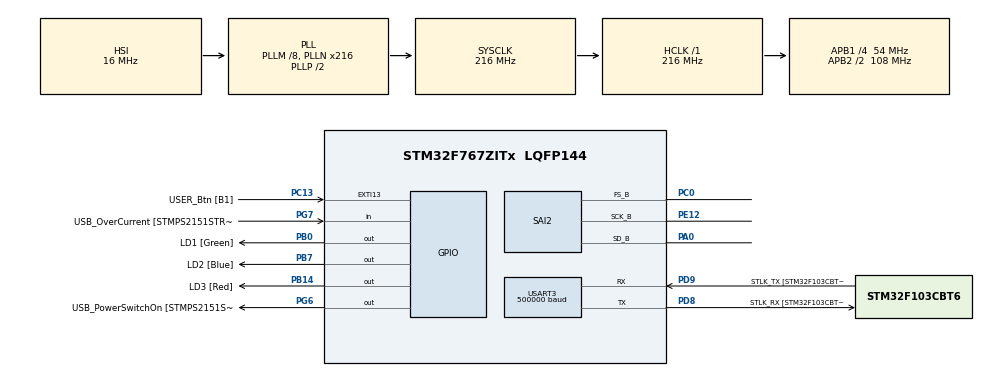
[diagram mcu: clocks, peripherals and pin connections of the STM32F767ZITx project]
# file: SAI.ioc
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Dma.Request0=USART3_TX
Dma.Request1=SAI2_B
Dma.SAI2_B.1.Direction=DMA_PERIPH_TO_MEMORY
Dma.SAI2_B.1.FIFOMode=DMA_FIFOMODE_DISABLE
Dma.SAI2_B.1.Instance=DMA2_Stream1
Dma.SAI2_B.1.MemDataAlignment=DMA_MDATAALIGN_WORD
Dma.SAI2_B.1.MemInc=DMA_MINC_ENABLE
Dma.SAI2_B.1.Mode=DMA_CIRCULAR
Dma.SAI2_B.1.PeriphDataAlignment=DMA_PDATAALIGN_WORD
Dma.SAI2_B.1.PeriphInc=DMA_PINC_DISABLE
Dma.SAI2_B.1.Priority=DMA_PRIORITY_MEDIUM
Dma.USART3_TX.0.Direction=DMA_MEMORY_TO_PERIPH
Dma.USART3_TX.0.FIFOMode=DMA_FIFOMODE_DISABLE
Dma.USART3_TX.0.Instance=DMA1_Stream3
Dma.USART3_TX.0.MemDataAlignment=DMA_MDATAALIGN_BYTE
Dma.USART3_TX.0.MemInc=DMA_MINC_ENABLE
Dma.USART3_TX.0.Mode=DMA_NORMAL
Dma.USART3_TX.0.PeriphDataAlignment=DMA_PDATAALIGN_BYTE
Dma.USART3_TX.0.PeriphInc=DMA_PINC_DISABLE
Dma.USART3_TX.0.Priority=DMA_PRIORITY_LOW
Mcu.Family=STM32F7
Mcu.Name=STM32F767ZITx
Mcu.Package=LQFP144
NVIC.DMA1_Stream3_IRQn=true\:0\:0\:false\:false\:true\:false\:true\:true
NVIC.DMA2_Stream1_IRQn=true\:0\:0\:false\:false\:true\:false\:true\:true
NVIC.PriorityGroup=NVIC_PRIORITYGROUP_4
NVIC.SAI2_IRQn=true\:0\:0\:false\:false\:true\:true\:true\:true
NVIC.USART3_IRQn=true\:0\:0\:false\:false\:true\:true\:true\:true
PA0/WKUP.Mode=SAI_B_Master
PA0/WKUP.Signal=SAI2_SD_B
PA1.GPIO_Label=RMII_REF_CLK [LAN8742A-CZ-TR_REFCLK0]
PA1.Signal=ETH_REF_CLK
PA10.GPIO_Label=USB_ID
PA10.Signal=USB_OTG_FS_ID
PA11.GPIO_Label=USB_DM
PA11.Signal=USB_OTG_FS_DM
PA12.GPIO_Label=USB_DP
PA12.Signal=USB_OTG_FS_DP
PA13.GPIO_Label=TMS
PA13.Signal=SYS_JTMS-SWDIO
PA14.GPIO_Label=TCK
PA14.Signal=SYS_JTCK-SWCLK
PA2.GPIO_Label=RMII_MDIO [LAN8742A-CZ-TR_MDIO]
PA2.Signal=ETH_MDIO
PA7.GPIO_Label=RMII_CRS_DV [LAN8742A-CZ-TR_CRS_DV]
PA7.Signal=ETH_CRS_DV
PA8.GPIO_Label=USB_SOF [TP1]
PA8.Signal=USB_OTG_FS_SOF
PA9.GPIO_Label=USB_VBUS
PA9.Signal=USB_OTG_FS_VBUS
PB0.GPIO_Label=LD1 [Green]
PB0.Signal=GPIO_Output
PB13.GPIO_Label=RMII_TXD1 [LAN8742A-CZ-TR_TXD1]
PB13.Signal=ETH_TXD1
PB14.GPIO_Label=LD3 [Red]
PB14.Signal=GPIO_Output
PB3.GPIO_Label=SW0
PB3.Signal=SYS_JTDO-SWO
PB7.GPIO_Label=LD2 [Blue]
PB7.Signal=GPIO_Output
PC0.Mode=SAI_B_Master
PC0.Signal=SAI2_FS_B
PC1.GPIO_Label=RMII_MDC [LAN8742A-CZ-TR_MDC]
PC1.Signal=ETH_MDC
PC13.GPIO_Label=USER_Btn [B1]
PC13.Signal=GPXTI13
PC14/OSC32_IN.Signal=RCC_OSC32_IN
PC15/OSC32_OUT.Signal=RCC_OSC32_OUT
PC4.GPIO_Label=RMII_RXD0 [LAN8742A-CZ-TR_RXD0]
PC4.Signal=ETH_RXD0
PC5.GPIO_Label=RMII_RXD1 [LAN8742A-CZ-TR_RXD1]
PC5.Signal=ETH_RXD1
PD8.GPIO_Label=STLK_RX [STM32F103CBT6_PA3]
PD8.Mode=Asynchronous
PD8.Signal=USART3_TX
PD9.GPIO_Label=STLK_TX [STM32F103CBT6_PA2]
PD9.Mode=Asynchronous
PD9.Signal=USART3_RX
PE12.Mode=SAI_B_Master
PE12.Signal=SAI2_SCK_B
PG11.GPIO_Label=RMII_TX_EN [LAN8742A-CZ-TR_TXEN]
PG11.Signal=ETH_TX_EN
PG13.GPIO_Label=RMII_TXD0 [LAN8742A-CZ-TR_TXD0]
PG13.Signal=ETH_TXD0
PG6.GPIO_Label=USB_PowerSwitchOn [STMPS2151STR_EN]
PG6.Signal=GPIO_Output
PG7.GPIO_Label=USB_OverCurrent [STMPS2151STR_FAULT]
PG7.Signal=GPIO_Input
PH0/OSC_IN.GPIO_Label=MCO [STM32F103CBT6_PA8]
PH0/OSC_IN.Signal=RCC_OSC_IN
PH1/OSC_OUT.Signal=RCC_OSC_OUT
ProjectManager.HeapSize=0x200
ProjectManager.StackSize=0x400
ProjectManager.TargetToolchain=STM32CubeIDE
RCC.48MHZClocksFreq_Value=24000000
RCC.AHBFreq_Value=216000000
RCC.APB1CLKDivider=RCC_HCLK_DIV4
RCC.APB1Freq_Value=54000000
RCC.APB1TimFreq_Value=108000000
RCC.APB2CLKDivider=RCC_HCLK_DIV2
RCC.APB2Freq_Value=108000000
RCC.APB2TimFreq_Value=216000000
RCC.CortexFreq_Value=216000000
RCC.HCLKFreq_Value=216000000
RCC.HSE_VALUE=16000000
RCC.HSI_VALUE=16000000
RCC.LSE_VALUE=32768
RCC.PLLM=8
RCC.PLLMUL=RCC_PLL_MUL9
RCC.PLLN=216
RCC.PLLSAIN=96
RCC.PLLSAIQ=3
RCC.PRESCALERUSB=RCC_USBCLKSOURCE_PLL_DIV1_5
RCC.SYSCLKFreq_VALUE=216000000
RCC.SYSCLKSource=RCC_SYSCLKSOURCE_PLLCLK
RCC.SYSCLKSourceVirtual=RCC_SYSCLKSOURCE_PLLCLK
RCC.USBFreq_Value=216000000
RCC.VCOOutputFreq_Value=432000000
SAI2.ActiveFrameLength-SAI_B_Master=32
SAI2.AudioFrequency-SAI_B_Master=SAI_AUDIO_FREQUENCY_22K
SAI2.AudioMode-SAI_B_Master=SAI_MODEMASTER_RX
SAI2.DataSize-SAI_B_Master=SAI_DATASIZE_24
SAI2.ErrorAudioFreq-SAI_B_Master=13.37 %
SAI2.FSOffset-SAI_B_Master=SAI_FS_BEFOREFIRSTBIT
SAI2.FirstBitOffset-SAI_B_Master=1
SAI2.FrameLength-SAI_B_Master=64
SAI2.Instance-SAI_B_Master=SAI$Index_Block_B
SAI2.MClockEnable-SAI_B_Master=SAI_MASTERCLOCK_DISABLE
SAI2.RealAudioFreq-SAI_B_Master=25.0 KHz
SAI2.SlotActive-SAI_B_Master=0x00000001
SAI2.SlotNumber-SAI_B_Master=2
SAI2.SlotSize-SAI_B_Master=SAI_SLOTSIZE_32B
SAI2.VirtualMode-SAI_B_Master=VM_MASTER
SAI2.VirtualSlotActive-SAI_B_Master=SAI_SLOT_USERSETTING
SAI2.VirtualSlotActive0-SAI_B_Master=true
USART3.BaudRate=500000
USART3.Mode=MODE_TX
USART3.VirtualMode-Asynchronous=VM_ASYNC
board=NUCLEO-F767ZI

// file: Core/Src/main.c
/* USER CODE BEGIN Header */
/**
  ******************************************************************************
  * @file           : main.c
  * @brief          : Main program body
  ******************************************************************************
  * @attention
  *
  * Copyright (c) 2025 STMicroelectronics.
  * All rights reserved.
  *
  * This software is licensed under terms that can be found in the LICENSE file
  * in the root directory of this software component.
  * If no LICENSE file comes with this software, it is provided AS-IS.
  *
  ******************************************************************************
  */
/* USER CODE END Header */
#include "main.h"

SAI_HandleTypeDef hsai_BlockB2;
DMA_HandleTypeDef hdma_sai2_b;

UART_HandleTypeDef huart3;
DMA_HandleTypeDef hdma_usart3_tx;

/* USER CODE BEGIN PV */
#define AUDIO_BUFFER_SIZE 2048

// DMA buffer for SAI (double buffer logic will use halves)
uint32_t sai_dma_buffer[AUDIO_BUFFER_SIZE];

// UART TX buffers (double buffering)
uint8_t uart_tx_buf1[AUDIO_BUFFER_SIZE * 4];  // 4 bytes per sample (as ASCII)
uint8_t uart_tx_buf2[AUDIO_BUFFER_SIZE * 4];

volatile uint8_t uart_tx_busy = 0;
volatile uint8_t current_uart_buf = 0;

#define UART_QUEUE_SIZE 32 // how many chunks to buffer (tune as needed)
#define UART_CHUNK_SIZE 2048  // max size per formatted audio chunk

typedef struct {
    uint8_t data[UART_CHUNK_SIZE];
    uint16_t length;
} UART_Chunk;

UART_Chunk uart_queue[UART_QUEUE_SIZE];
volatile uint8_t uart_queue_head = 0;
volatile uint8_t uart_queue_tail = 0;
volatile uint8_t uart_tx_active = 0;

/* USER CODE END PV */

void SystemClock_Config(void);
static void MX_GPIO_Init(void);
static void MX_DMA_Init(void);
static void MX_USART3_UART_Init(void);
static void MX_SAI2_Init(void);

int main(void)
{

  /* MCU Configuration--------------------------------------------------------*/

  /* Reset of all peripherals, Initializes the Flash interface and the Systick. */
  HAL_Init();

  /* Configure the system clock */
  SystemClock_Config();

  /* USER CODE BEGIN SysInit */
HAL_Delay(50);
  /* USER CODE END SysInit */

  /* Initialize all configured peripherals */
  MX_GPIO_Init();
  MX_DMA_Init();
  MX_USART3_UART_Init();
  MX_SAI2_Init();
  /* USER CODE BEGIN 2 */
  HAL_SAI_Receive_DMA(&hsai_BlockB2, (uint8_t *)sai_dma_buffer, 2 * AUDIO_BUFFER_SIZE);
  /* USER CODE END 2 */

  /* Infinite loop */
  while (1)
  {

  }
}

void SystemClock_Config(void)
{
  RCC_OscInitTypeDef RCC_OscInitStruct = {0};
  RCC_ClkInitTypeDef RCC_ClkInitStruct = {0};

  /** Configure the main internal regulator output voltage
  */
  __HAL_RCC_PWR_CLK_ENABLE();
  __HAL_PWR_VOLTAGESCALING_CONFIG(PWR_REGULATOR_VOLTAGE_SCALE1);

  /** Initializes the RCC Oscillators according to the specified parameters
  * in the RCC_OscInitTypeDef structure.
  */
  RCC_OscInitStruct.OscillatorType = RCC_OSCILLATORTYPE_HSI;
  RCC_OscInitStruct.HSIState = RCC_HSI_ON;
  RCC_OscInitStruct.HSICalibrationValue = RCC_HSICALIBRATION_DEFAULT;
  RCC_OscInitStruct.PLL.PLLState = RCC_PLL_ON;
  RCC_OscInitStruct.PLL.PLLSource = RCC_PLLSOURCE_HSI;
  RCC_OscInitStruct.PLL.PLLM = 8;
  RCC_OscInitStruct.PLL.PLLN = 216;
  RCC_OscInitStruct.PLL.PLLP = RCC_PLLP_DIV2;
  RCC_OscInitStruct.PLL.PLLQ = 2;
  RCC_OscInitStruct.PLL.PLLR = 2;
  if (HAL_RCC_OscConfig(&RCC_OscInitStruct) != HAL_OK)
  {
    Error_Handler();
  }

  /** Activate the Over-Drive mode
  */
  if (HAL_PWREx_EnableOverDrive() != HAL_OK)
  {
    Error_Handler();
  }

  /** Initializes the CPU, AHB and APB buses clocks
  */
  RCC_ClkInitStruct.ClockType = RCC_CLOCKTYPE_HCLK|RCC_CLOCKTYPE_SYSCLK
                              |RCC_CLOCKTYPE_PCLK1|RCC_CLOCKTYPE_PCLK2;
  RCC_ClkInitStruct.SYSCLKSource = RCC_SYSCLKSOURCE_PLLCLK;
  RCC_ClkInitStruct.AHBCLKDivider = RCC_SYSCLK_DIV1;
  RCC_ClkInitStruct.APB1CLKDivider = RCC_HCLK_DIV4;
  RCC_ClkInitStruct.APB2CLKDivider = RCC_HCLK_DIV2;

  if (HAL_RCC_ClockConfig(&RCC_ClkInitStruct, FLASH_LATENCY_7) != HAL_OK)
  {
    Error_Handler();
  }
}

static void MX_SAI2_Init(void)
{

  hsai_BlockB2.Instance = SAI2_Block_B;
  hsai_BlockB2.Init.Protocol = SAI_FREE_PROTOCOL;
  hsai_BlockB2.Init.AudioMode = SAI_MODEMASTER_RX;
  hsai_BlockB2.Init.DataSize = SAI_DATASIZE_24;
  hsai_BlockB2.Init.FirstBit = SAI_FIRSTBIT_MSB;
  hsai_BlockB2.Init.ClockStrobing = SAI_CLOCKSTROBING_FALLINGEDGE;
  hsai_BlockB2.Init.Synchro = SAI_ASYNCHRONOUS;
  hsai_BlockB2.Init.OutputDrive = SAI_OUTPUTDRIVE_DISABLE;
  hsai_BlockB2.Init.NoDivider = SAI_MASTERDIVIDER_ENABLE;
  hsai_BlockB2.Init.FIFOThreshold = SAI_FIFOTHRESHOLD_EMPTY;
  hsai_BlockB2.Init.AudioFrequency = SAI_AUDIO_FREQUENCY_22K;
  hsai_BlockB2.Init.SynchroExt = SAI_SYNCEXT_DISABLE;
  hsai_BlockB2.Init.MonoStereoMode = SAI_STEREOMODE;
  hsai_BlockB2.Init.CompandingMode = SAI_NOCOMPANDING;
  hsai_BlockB2.FrameInit.FrameLength = 64;
  hsai_BlockB2.FrameInit.ActiveFrameLength = 32;
  hsai_BlockB2.FrameInit.FSDefinition = SAI_FS_STARTFRAME;
  hsai_BlockB2.FrameInit.FSPolarity = SAI_FS_ACTIVE_LOW;
  hsai_BlockB2.FrameInit.FSOffset = SAI_FS_BEFOREFIRSTBIT;
  hsai_BlockB2.SlotInit.FirstBitOffset = 1;
  hsai_BlockB2.SlotInit.SlotSize = SAI_SLOTSIZE_32B;
  hsai_BlockB2.SlotInit.SlotNumber = 2;
  hsai_BlockB2.SlotInit.SlotActive = 0x00000001;
  if (HAL_SAI_Init(&hsai_BlockB2) != HAL_OK)
  {
    Error_Handler();
  }

}

static void MX_USART3_UART_Init(void)
{

  huart3.Instance = USART3;
  huart3.Init.BaudRate = 500000;
  huart3.Init.WordLength = UART_WORDLENGTH_8B;
  huart3.Init.StopBits = UART_STOPBITS_1;
  huart3.Init.Parity = UART_PARITY_NONE;
  huart3.Init.Mode = UART_MODE_TX;
  huart3.Init.HwFlowCtl = UART_HWCONTROL_NONE;
  huart3.Init.OverSampling = UART_OVERSAMPLING_16;
  huart3.Init.OneBitSampling = UART_ONE_BIT_SAMPLE_DISABLE;
  huart3.AdvancedInit.AdvFeatureInit = UART_ADVFEATURE_NO_INIT;
  if (HAL_UART_Init(&huart3) != HAL_OK)
  {
    Error_Handler();
  }

}

static void MX_DMA_Init(void)
{

  /* DMA controller clock enable */
  __HAL_RCC_DMA1_CLK_ENABLE();
  __HAL_RCC_DMA2_CLK_ENABLE();

  /* DMA interrupt init */
  /* DMA1_Stream3_IRQn interrupt configuration */
  HAL_NVIC_SetPriority(DMA1_Stream3_IRQn, 0, 0);
  HAL_NVIC_EnableIRQ(DMA1_Stream3_IRQn);
  /* DMA2_Stream1_IRQn interrupt configuration */
  HAL_NVIC_SetPriority(DMA2_Stream1_IRQn, 0, 0);
  HAL_NVIC_EnableIRQ(DMA2_Stream1_IRQn);

}

static void MX_GPIO_Init(void)
{
  GPIO_InitTypeDef GPIO_InitStruct = {0};

  /* GPIO Ports Clock Enable */
  __HAL_RCC_GPIOC_CLK_ENABLE();
  __HAL_RCC_GPIOH_CLK_ENABLE();
  __HAL_RCC_GPIOA_CLK_ENABLE();
  __HAL_RCC_GPIOB_CLK_ENABLE();
  __HAL_RCC_GPIOE_CLK_ENABLE();
  __HAL_RCC_GPIOD_CLK_ENABLE();
  __HAL_RCC_GPIOG_CLK_ENABLE();

  /*Configure GPIO pin Output Level */
  HAL_GPIO_WritePin(GPIOB, LD1_Pin|LD3_Pin|LD2_Pin, GPIO_PIN_RESET);

  /*Configure GPIO pin Output Level */
  HAL_GPIO_WritePin(USB_PowerSwitchOn_GPIO_Port, USB_PowerSwitchOn_Pin, GPIO_PIN_RESET);

  /*Configure GPIO pin : USER_Btn_Pin */
  GPIO_InitStruct.Pin = USER_Btn_Pin;
  GPIO_InitStruct.Mode = GPIO_MODE_IT_RISING;
  GPIO_InitStruct.Pull = GPIO_NOPULL;
  HAL_GPIO_Init(USER_Btn_GPIO_Port, &GPIO_InitStruct);

  /*Configure GPIO pins : RMII_MDC_Pin RMII_RXD0_Pin RMII_RXD1_Pin */
  GPIO_InitStruct.Pin = RMII_MDC_Pin|RMII_RXD0_Pin|RMII_RXD1_Pin;
  GPIO_InitStruct.Mode = GPIO_MODE_AF_PP;
  GPIO_InitStruct.Pull = GPIO_NOPULL;
  GPIO_InitStruct.Speed = GPIO_SPEED_FREQ_VERY_HIGH;
  GPIO_InitStruct.Alternate = GPIO_AF11_ETH;
  HAL_GPIO_Init(GPIOC, &GPIO_InitStruct);

  /*Configure GPIO pins : RMII_REF_CLK_Pin RMII_MDIO_Pin RMII_CRS_DV_Pin */
  GPIO_InitStruct.Pin = RMII_REF_CLK_Pin|RMII_MDIO_Pin|RMII_CRS_DV_Pin;
  GPIO_InitStruct.Mode = GPIO_MODE_AF_PP;
  GPIO_InitStruct.Pull = GPIO_NOPULL;
  GPIO_InitStruct.Speed = GPIO_SPEED_FREQ_VERY_HIGH;
  GPIO_InitStruct.Alternate = GPIO_AF11_ETH;
  HAL_GPIO_Init(GPIOA, &GPIO_InitStruct);

  /*Configure GPIO pins : LD1_Pin LD3_Pin LD2_Pin */
  GPIO_InitStruct.Pin = LD1_Pin|LD3_Pin|LD2_Pin;
  GPIO_InitStruct.Mode = GPIO_MODE_OUTPUT_PP;
  GPIO_InitStruct.Pull = GPIO_NOPULL;
  GPIO_InitStruct.Speed = GPIO_SPEED_FREQ_LOW;
  HAL_GPIO_Init(GPIOB, &GPIO_InitStruct);

  /*Configure GPIO pin : RMII_TXD1_Pin */
  GPIO_InitStruct.Pin = RMII_TXD1_Pin;
  GPIO_InitStruct.Mode = GPIO_MODE_AF_PP;
  GPIO_InitStruct.Pull = GPIO_NOPULL;
  GPIO_InitStruct.Speed = GPIO_SPEED_FREQ_VERY_HIGH;
  GPIO_InitStruct.Alternate = GPIO_AF11_ETH;
  HAL_GPIO_Init(RMII_TXD1_GPIO_Port, &GPIO_InitStruct);

  /*Configure GPIO pin : USB_PowerSwitchOn_Pin */
  GPIO_InitStruct.Pin = USB_PowerSwitchOn_Pin;
  GPIO_InitStruct.Mode = GPIO_MODE_OUTPUT_PP;
  GPIO_InitStruct.Pull = GPIO_NOPULL;
  GPIO_InitStruct.Speed = GPIO_SPEED_FREQ_LOW;
  HAL_GPIO_Init(USB_PowerSwitchOn_GPIO_Port, &GPIO_InitStruct);

  /*Configure GPIO pin : USB_OverCurrent_Pin */
  GPIO_InitStruct.Pin = USB_OverCurrent_Pin;
  GPIO_InitStruct.Mode = GPIO_MODE_INPUT;
  GPIO_InitStruct.Pull = GPIO_NOPULL;
  HAL_GPIO_Init(USB_OverCurrent_GPIO_Port, &GPIO_InitStruct);

  /*Configure GPIO pins : USB_SOF_Pin USB_ID_Pin USB_DM_Pin USB_DP_Pin */
  GPIO_InitStruct.Pin = USB_SOF_Pin|USB_ID_Pin|USB_DM_Pin|USB_DP_Pin;
  GPIO_InitStruct.Mode = GPIO_MODE_AF_PP;
  GPIO_InitStruct.Pull = GPIO_NOPULL;
  GPIO_InitStruct.Speed = GPIO_SPEED_FREQ_VERY_HIGH;
  GPIO_InitStruct.Alternate = GPIO_AF10_OTG_FS;
  HAL_GPIO_Init(GPIOA, &GPIO_InitStruct);

  /*Configure GPIO pin : USB_VBUS_Pin */
  GPIO_InitStruct.Pin = USB_VBUS_Pin;
  GPIO_InitStruct.Mode = GPIO_MODE_INPUT;
  GPIO_InitStruct.Pull = GPIO_NOPULL;
  HAL_GPIO_Init(USB_VBUS_GPIO_Port, &GPIO_InitStruct);

  /*Configure GPIO pins : RMII_TX_EN_Pin RMII_TXD0_Pin */
  GPIO_InitStruct.Pin = RMII_TX_EN_Pin|RMII_TXD0_Pin;
  GPIO_InitStruct.Mode = GPIO_MODE_AF_PP;
  GPIO_InitStruct.Pull = GPIO_NOPULL;
  GPIO_InitStruct.Speed = GPIO_SPEED_FREQ_VERY_HIGH;
  GPIO_InitStruct.Alternate = GPIO_AF11_ETH;
  HAL_GPIO_Init(GPIOG, &GPIO_InitStruct);

}

/* USER CODE BEGIN 4 */

int32_t convert_24bit_to_signed(uint32_t raw)
{
    // Mask to 24 bits
    raw &= 0x00FFFFFF;

    // If the 23rd bit (sign bit) is set, sign-extend to 32-bit negative
    if (raw & 0x00800000)
        raw |= 0xFF000000;  // Fill top 8 bits with 1s to keep it negative

    return (int32_t)raw;
}

uint8_t UART_Queue_IsFull()
{
    return ((uart_queue_tail + 1) % UART_QUEUE_SIZE) == uart_queue_head;
}

uint8_t UART_Queue_IsEmpty()
{
    return uart_queue_head == uart_queue_tail;
}

void UART_Queue_Push(uint8_t *data, uint16_t len)
{
    if (UART_Queue_IsFull()) {
        // Optional: track dropped packets
        return;
    }

    memcpy(uart_queue[uart_queue_tail].data, data, len);
    uart_queue[uart_queue_tail].length = len;
    uart_queue_tail = (uart_queue_tail + 1) % UART_QUEUE_SIZE;

    // If UART is idle, trigger transmission
    if (!uart_tx_active) {
        UART_Transmit_Next();
    }
}

void UART_Transmit_Next()
{
    if (UART_Queue_IsEmpty()) {
        uart_tx_active = 0;
        return;
    }

    uart_tx_active = 1;
    UART_Chunk *chunk = &uart_queue[uart_queue_head];
    HAL_UART_Transmit_DMA(&huart3, chunk->data, chunk->length);
}

void Process_Audio_Chunk(uint32_t *buffer, uint16_t len)
{
    // Temporary staging buffer
    static uint8_t tx_buf[UART_CHUNK_SIZE];
    uint16_t pos = 0;

    for (uint16_t i = 0; i < len; i++) {
        int32_t sample = convert_24bit_to_signed(buffer[i]);

        // Format: one sample per line
        pos += sprintf((char *)&tx_buf[pos], "%ld\n", sample);
        if (pos >= UART_CHUNK_SIZE - 16) break;
    }

    UART_Queue_Push(tx_buf, pos);
}

void HAL_SAI_RxHalfCpltCallback(SAI_HandleTypeDef *hsai)
{
    if (hsai->Instance == SAI2_Block_B)
    {
        Process_Audio_Chunk(&sai_dma_buffer[0], AUDIO_BUFFER_SIZE / 2);
    }
}

void HAL_SAI_RxCpltCallback(SAI_HandleTypeDef *hsai)
{
    if (hsai->Instance == SAI2_Block_B)
    {
        Process_Audio_Chunk(&sai_dma_buffer[AUDIO_BUFFER_SIZE / 2], AUDIO_BUFFER_SIZE / 2);
    }
}

void HAL_UART_TxCpltCallback(UART_HandleTypeDef *huart)
{
    if (huart->Instance == USART3)
    {
        // Move to next buffer in queue
        uart_queue_head = (uart_queue_head + 1) % UART_QUEUE_SIZE;
        UART_Transmit_Next();  // Trigger next transmission
    }
}

/* USER CODE END 4 */

void Error_Handler(void)
{
  __disable_irq();
  while (1)
  {
  }
}
